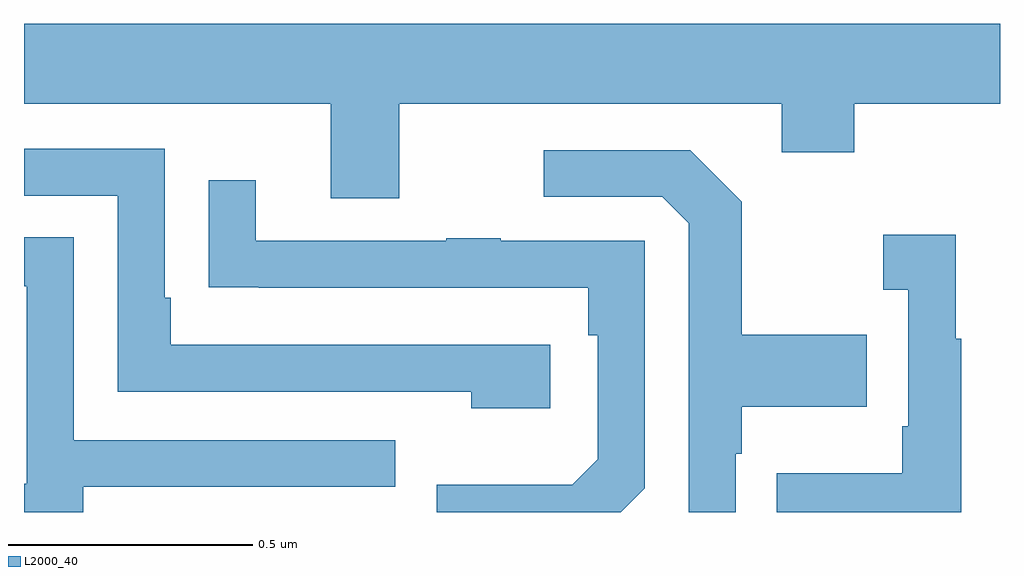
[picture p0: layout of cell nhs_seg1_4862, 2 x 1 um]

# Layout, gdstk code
import gdstk
lib = gdstk.Library(unit=1e-6, precision=1e-09)
def P(c, l, *ps):  # polygons
    for p in ps: c.add(gdstk.Polygon(p, *l))
L2000_40 = (2000, 40)

nhs_seg1_4862 = lib.new_cell('nhs_seg1_4862')
P(nhs_seg1_4862, L2000_40, [(171.769,581.036),(172.553,581.036),(172.553,580.937),(172.701,580.937),(172.701,581.036),(173,581.036),(173,581.2),(171,581.2),(171,581.036),(171.629,581.036),(171.629,580.842),(171.769,580.842)],
  [(172.078,580.542),(171.301,580.542),(171.301,580.639),(171.288,580.639),(171.288,580.944),(171,580.944),(171,580.848),(171.192,580.848),(171.192,580.446),(171.917,580.446),(171.917,580.412),(172.078,580.412)],
  [(172.458,580.319),(172.471,580.319),(172.471,580.415),(172.727,580.415),(172.727,580.563),(172.471,580.563),(172.471,580.835),(172.365,580.941),(172.065,580.941),(172.065,580.845),(172.308,580.845),(172.362,580.791),(172.362,580.199),(172.458,580.199)],
  [(172.272,580.248),(172.272,580.755),(171.977,580.755),(171.977,580.76),(171.865,580.76),(171.865,580.755),(171.475,580.755),(171.475,580.879),(171.379,580.879),(171.379,580.66),(171.481,580.66),(171.481,580.659),(172.156,580.659),(172.156,580.562),(172.176,580.562),(172.176,580.308),(172.123,580.255),(171.846,580.255),(171.846,580.199),(172.223,580.199)],
  [(172.921,580.555),(172.909,580.555),(172.909,580.768),(172.761,580.768),(172.761,580.655),(172.812,580.655),(172.812,580.375),(172.8,580.375),(172.8,580.279),(172.543,580.279),(172.543,580.199),(172.921,580.199)],
  [(171.121,580.251),(171.761,580.251),(171.761,580.347),(171.102,580.347),(171.102,580.763),(171,580.763),(171,580.662),(171.006,580.662),(171.006,580.257),(171,580.257),(171,580.199),(171.121,580.199)])

lib.write_gds('nhs_seg1_4862.gds')
